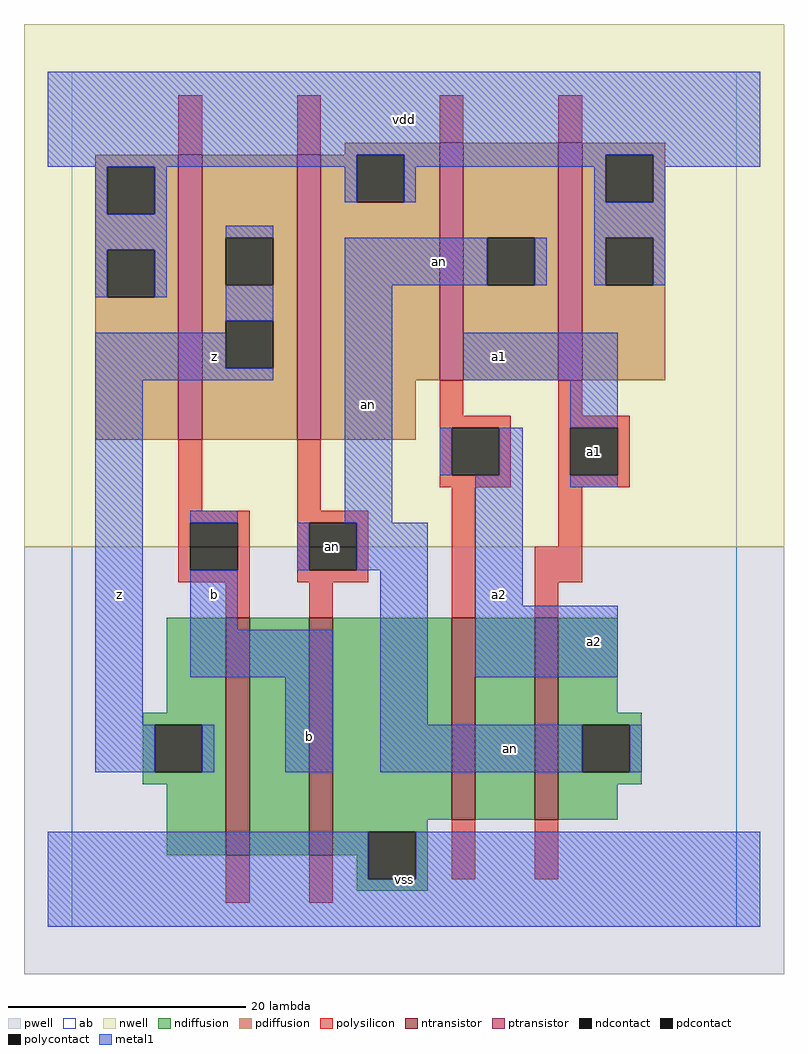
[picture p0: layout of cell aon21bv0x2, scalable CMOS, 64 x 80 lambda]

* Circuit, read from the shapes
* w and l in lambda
.subckt aon21bv0x2 a1 a2 an b vdd vss z
M1 n1 b z VSUBS nfet w=20 l=2
M2 vss an n1 VSUBS nfet w=20 l=2
M3 n2 a2 vss VSUBS nfet w=17 l=2
M4 an a1 n2 VSUBS nfet w=17 l=2
M5 z b vdd n3 pfet w=24 l=2
M6 vdd an z n3 pfet w=24 l=2
M7 an a2 vdd n3 pfet w=20 l=2
M8 vdd a1 an n3 pfet w=20 l=2
.ends

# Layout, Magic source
magic
tech scmos
<< ab >>
rect 0 0 56 72
<< pwell >>
rect -4 -4 60 32
<< nwell >>
rect -4 32 60 76
<< polysilicon >>
rect 9 65 11 70
rect 19 65 21 70
rect 31 66 33 70
rect 41 66 43 70
rect 31 43 33 46
rect 41 43 43 46
rect 31 42 37 43
rect 9 35 11 41
rect 19 35 21 41
rect 31 38 32 42
rect 36 38 37 42
rect 31 37 37 38
rect 41 42 47 43
rect 41 38 42 42
rect 46 38 47 42
rect 41 37 47 38
rect 9 34 15 35
rect 9 30 10 34
rect 14 30 15 34
rect 9 29 15 30
rect 19 34 25 35
rect 19 30 20 34
rect 24 30 25 34
rect 19 29 25 30
rect 13 26 15 29
rect 20 26 22 29
rect 32 26 34 37
rect 41 32 43 37
rect 39 29 43 32
rect 39 26 41 29
rect 13 2 15 6
rect 20 2 22 6
rect 32 4 34 9
rect 39 4 41 9
<< ndiffusion >>
rect 8 18 13 26
rect 6 17 13 18
rect 6 13 7 17
rect 11 13 13 17
rect 6 12 13 13
rect 8 6 13 12
rect 15 6 20 26
rect 22 9 32 26
rect 34 9 39 26
rect 41 18 46 26
rect 41 17 48 18
rect 41 13 43 17
rect 47 13 48 17
rect 41 12 48 13
rect 41 9 46 12
rect 22 8 30 9
rect 22 6 25 8
rect 24 4 25 6
rect 29 4 30 8
rect 24 3 30 4
<< pdiffusion >>
rect 23 65 31 66
rect 2 64 9 65
rect 2 60 3 64
rect 7 60 9 64
rect 2 57 9 60
rect 2 53 3 57
rect 7 53 9 57
rect 2 41 9 53
rect 11 58 19 65
rect 11 54 13 58
rect 17 54 19 58
rect 11 51 19 54
rect 11 47 13 51
rect 17 47 19 51
rect 11 41 19 47
rect 21 61 24 65
rect 28 61 31 65
rect 21 46 31 61
rect 33 58 41 66
rect 33 54 35 58
rect 39 54 41 58
rect 33 46 41 54
rect 43 65 50 66
rect 43 61 45 65
rect 49 61 50 65
rect 43 58 50 61
rect 43 54 45 58
rect 49 54 50 58
rect 43 46 50 54
rect 21 41 29 46
<< metal1 >>
rect -2 65 58 72
rect -2 64 24 65
rect 2 60 3 64
rect 7 60 8 64
rect 23 61 24 64
rect 28 64 45 65
rect 28 61 29 64
rect 44 61 45 64
rect 49 64 58 65
rect 49 61 50 64
rect 2 57 8 60
rect 2 53 3 57
rect 7 53 8 57
rect 13 58 17 59
rect 44 58 50 61
rect 13 51 17 54
rect 2 47 13 50
rect 2 46 17 47
rect 23 54 35 58
rect 39 54 40 58
rect 44 54 45 58
rect 49 54 50 58
rect 2 17 6 46
rect 10 34 14 35
rect 23 34 27 54
rect 33 46 46 50
rect 42 42 46 46
rect 31 38 32 42
rect 36 38 38 42
rect 19 30 20 34
rect 24 30 30 34
rect 10 25 14 30
rect 10 21 22 25
rect 2 13 7 17
rect 11 13 12 17
rect 18 13 22 21
rect 26 17 30 30
rect 34 27 38 38
rect 42 37 46 38
rect 34 21 46 27
rect 26 13 43 17
rect 47 13 48 17
rect -2 4 25 8
rect 29 4 58 8
rect -2 0 58 4
<< ntransistor >>
rect 13 6 15 26
rect 20 6 22 26
rect 32 9 34 26
rect 39 9 41 26
<< ptransistor >>
rect 9 41 11 65
rect 19 41 21 65
rect 31 46 33 66
rect 41 46 43 66
<< polycontact >>
rect 32 38 36 42
rect 42 38 46 42
rect 10 30 14 34
rect 20 30 24 34
<< ndcontact >>
rect 7 13 11 17
rect 43 13 47 17
rect 25 4 29 8
<< pdcontact >>
rect 3 60 7 64
rect 3 53 7 57
rect 13 54 17 58
rect 13 47 17 51
rect 24 61 28 65
rect 35 54 39 58
rect 45 61 49 65
rect 45 54 49 58
<< labels >>
rlabel polycontact 22 32 22 32 6 an
rlabel metal1 4 28 4 28 6 z
rlabel metal1 20 16 20 16 6 b
rlabel metal1 12 28 12 28 6 b
rlabel metal1 12 48 12 48 6 z
rlabel metal1 25 44 25 44 6 an
rlabel metal1 28 4 28 4 6 vss
rlabel metal1 36 28 36 28 6 a2
rlabel metal1 36 48 36 48 6 a1
rlabel metal1 31 56 31 56 6 an
rlabel metal1 28 68 28 68 6 vdd
rlabel metal1 37 15 37 15 6 an
rlabel metal1 44 24 44 24 6 a2
rlabel polycontact 44 40 44 40 6 a1
<< end >>
